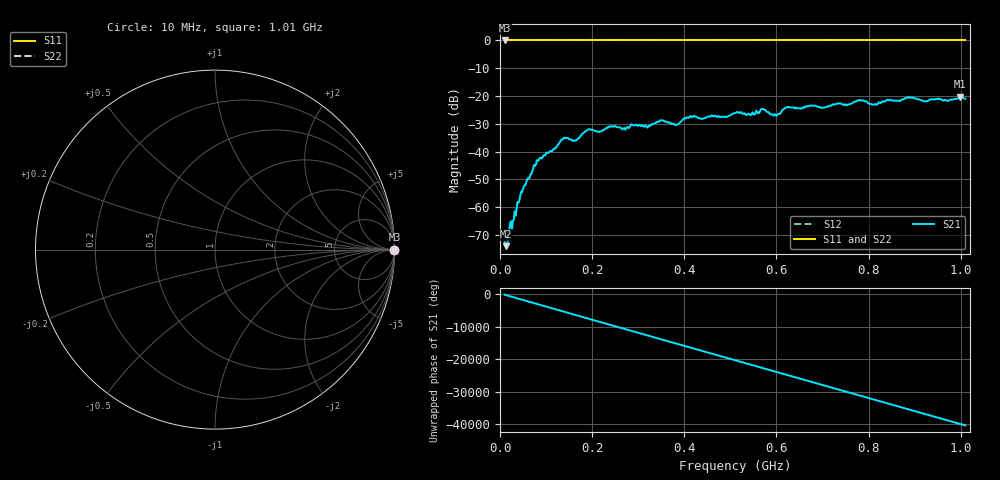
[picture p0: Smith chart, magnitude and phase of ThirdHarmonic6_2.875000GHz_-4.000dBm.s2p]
! 8/17/2025 7:52:05 AM
! C:\ANRITSUVNA\TEMP\TEMP.S2P
! CHANNEL.1
! TR.MEASUREMENT
! RAW.DATA
! RF.CORRECTION.OFF
! AVERAGING.OFF
! IF.BANDWIDTH: 5KHZ
! SWEEPTYPE:  FREQ.SWEEP(Linear)
! Reference Plane Port Info
! PORT:  PORT1  PORT2
! DISTANCE:  0  m  0  m
! TIME:  0  s  0  s
! PHASE.OFFSET:  0  deg.  0  deg.
! LOSS:  0  dB  0  dB
! REF.LOSS:  0  dB  0  dB
! REF.FREQ:  0  Hz  0  Hz
! Power Info
! POWER:  -20  dBm  -20  dBm
! EFF.POWER:  -20  dBm  -20  dBm
! SOURCE.ATTEN:  0  dB  0  dB
! TEST.ATTEN:  0  dB  0  dB
# GHZ S RI R 50.0
! FREQ.GHZ  S11RE  S11IM  S21RE  S21IM  S12RE  S12IM  S22RE  S22IM
!; PortSelection: Port_12
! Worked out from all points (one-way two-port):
!   501 points, 10 MHz to 1.01 GHz, reference 50 ohm
!   highest |S21| = -20.22 dB at 998 MHz (marker M1); lowest = -74.0 dB at 12 MHz (marker M2)
!   lowest |S11| = 0.0 dB at 10 MHz (marker M3)
!   |S11| at or under -10 dB: nowhere
!   |S22| runs from 0.0 to 0.0 dB; largest |S21 - S12| = 1.1
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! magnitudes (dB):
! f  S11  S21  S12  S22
! 10 MHz  0.0  -72.6  0.0  0.0
! 12 MHz  0.0  -74.0  0.0  0.0
! 48 MHz  0.0  -54.6  0.0  0.0
! 78 MHz  0.0  -44.7  0.0  0.0
! 136 MHz  0.0  -35.6  0.0  0.0
! 162 MHz  0.0  -36.0  0.0  0.0
! 178 MHz  0.0  -33.7  0.0  0.0
! 194 MHz  0.0  -31.9  0.0  0.0
! 322 MHz  0.0  -31.0  0.0  0.0
! 344 MHz  0.0  -29.3  0.0  0.0
! 384 MHz  0.0  -30.3  0.0  0.0
! 418 MHz  0.0  -27.6  0.0  0.0
! 510 MHz  0.0  -26.1  0.0  0.0
! 570 MHz  0.0  -24.6  0.0  0.0
! 598 MHz  0.0  -26.8  0.0  0.0
! 622 MHz  0.0  -24.1  0.0  0.0
! 678 MHz  0.0  -23.5  0.0  0.0
! 782 MHz  0.0  -21.6  0.0  0.0
! 814 MHz  0.0  -22.9  0.0  0.0
! 844 MHz  0.0  -21.5  0.0  0.0
! 998 MHz  0.0  -20.2  0.0  0.0
! 1.01 GHz  0.0  -20.9  0.0  0.0
